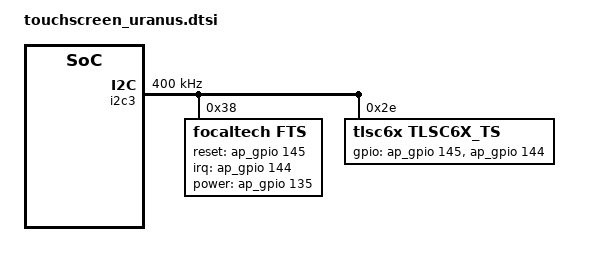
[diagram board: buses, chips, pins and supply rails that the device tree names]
&i2c3 {
	status = "okay";
	clock-frequency = <400000>;

	focaltech@38 {
		compatible = "focaltech,fts";
		reg = <0x38>;
		focaltech,reset-gpio = <&ap_gpio 145 0>;
		focaltech,irq-gpio = <&ap_gpio 144 0x2002>;
		focaltech,power-gpio = <&ap_gpio 135 0>;
		focaltech,display-coords = <0 0 719 1439>;
		focaltech,max-touch-number = <2>;

	};

	tlsc6x_ts@2e {
		compatible = "tlsc6x,tlsc6x_ts";
		reg = <0x2e>;
		gpios = <&ap_gpio 145 0
			&ap_gpio 144 0>;
		TP_MAX_X = <719>;
		TP_MAX_Y = <1439>;
	};
};
